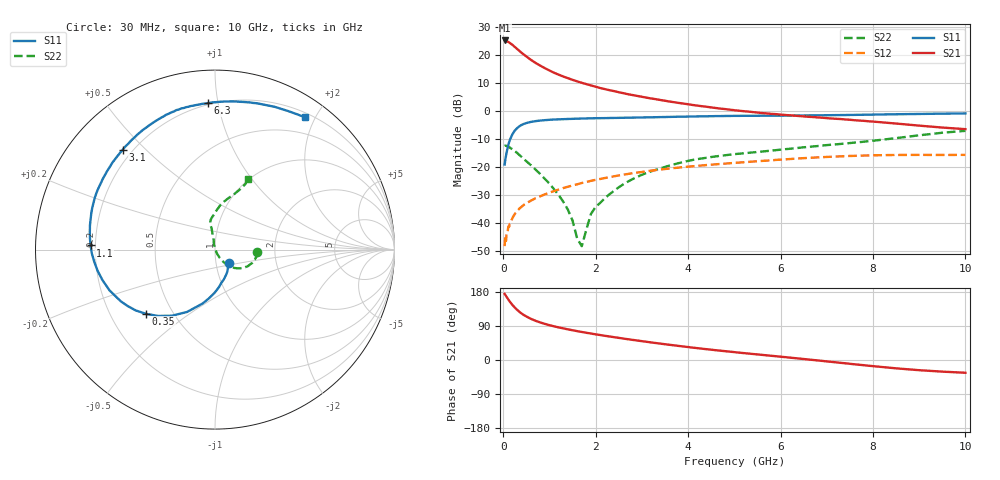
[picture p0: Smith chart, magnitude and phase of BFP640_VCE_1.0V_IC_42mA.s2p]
! Infineon Technologies  Discrete & RF Semiconductors
! BFP640
! VCE =  1.0 V,  IC =  42 mA
! Common Emitter S-Parameters:  Apr 2013
# GHz  S  MA  R  50
!  f  S11  S21  S12  S22
! GHz  MAG  ANG  MAG  ANG  MAG  ANG  MAG  ANG
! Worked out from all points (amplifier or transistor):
!   99 points, 30 MHz to 10 GHz, reference 50 ohm
!   highest |S21| = 25.1 dB at 30 MHz (marker M1)
!   |S21| within 3 dB of that: start of sweep to 299.1 MHz
!   unconditionally stable (mu >= 1): start of sweep to end of sweep
!   at 350 MHz: K = 1.72, MAG = 23.2 dB, |S12| = -35.0 dB
!   at 3.5 GHz: K = 1.61, MAG = 7.6 dB, |S12| = -20.8 dB
!   at 10 GHz: K = 1.51, MAG = 0.4 dB, |S12| = -15.8 dB
!   S11 on the Smith chart (normalised r, x): 30 MHz: 1.16, -0.17; 350 MHz: 0.35, -0.35; 1.1 GHz: 0.18, +0.02; 3.1 GHz: 0.16, +0.43; 6.3 GHz: 0.19, +0.93; 10 GHz: 0.26, +1.87
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0.03  0.1089 -42.8  17.92 174.6  0.0038 34.4  0.2347 -2.8
0.07  0.1734 -73.6  17.39 167.0  0.006 50.1  0.235 -9.6
0.12  0.2599 -94.6  16.67 157.9  0.0084 49.4  0.2257 -16.9
0.15  0.3088 -103.1  15.99 152.9  0.0096 51.6  0.2167 -21.0
0.2  0.3804 -114.1  14.93 145.1  0.0121 54.3  0.204 -27.2
0.25  0.4399 -123.1  13.75 138.4  0.0143 55.6  0.1898 -32.0
0.3  0.4868 -130.6  12.66 132.4  0.0161 54.0  0.1761 -36.3
0.35  0.5256 -137.1  11.68 127.2  0.0178 54.8  0.1612 -40.3
0.45  0.5803 -147.3  9.993 118.4  0.0209 53.3  0.136 -46.2
0.6  0.6297 -158.8  8.059 108.6  0.0247 53.0  0.106 -52.3
0.8  0.6647 -169.8  6.371 99.1  0.0295 53.7  0.0739 -56.9
1.1  0.6939 178.1  4.746 88.8  0.0367 54.0  0.0394 -60.9
1.4  0.7097 169.0  3.796 80.9  0.0438 53.5  0.017 -63.8
1.7  0.7226 161.1  3.139 74.0  0.051 52.1  0.0038 54.2
2  0.7325 154.0  2.677 67.7  0.0582 50.3  0.0191 98.1
3.1  0.7582 132.7  1.705 48.1  0.0826 42.1  0.0772 98.2
3.4  0.767 127.4  1.549 43.2  0.0886 39.4  0.0931 99.1
5.1  0.8063 104.4  0.998 19.5  0.1182 24.8  0.17 97.7
6.3  0.8175 92.9  0.814 5.1  0.1385 14.6  0.213 88.6
6.7  0.8233 88.6  0.769 0.1  0.1447 10.9  0.229 86.0
8.5  0.862 67.4  0.588 -22.0  0.1617 -7.1  0.323 71.4
10  0.8921 55.6  0.467 -33.7  0.1622 -17.1  0.4356 64.8
